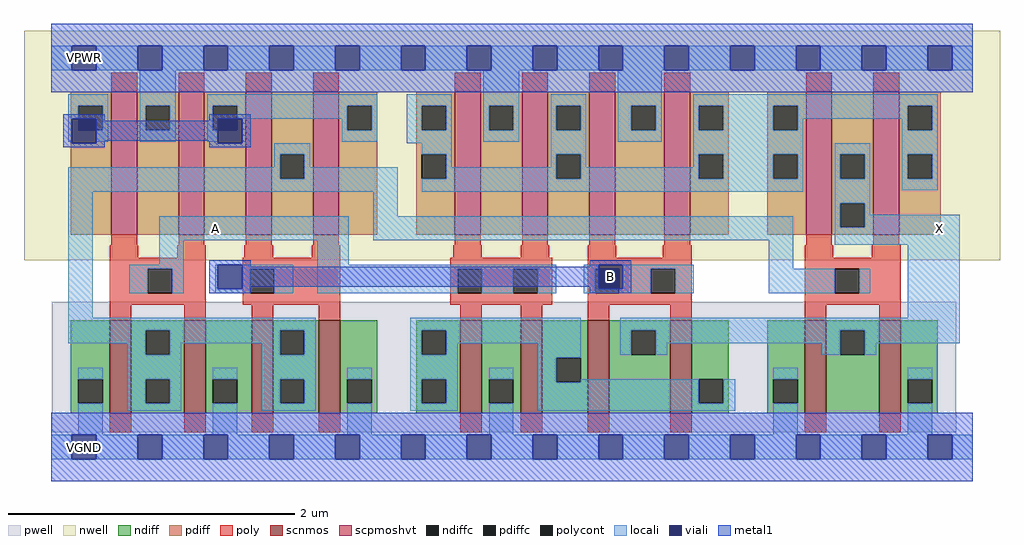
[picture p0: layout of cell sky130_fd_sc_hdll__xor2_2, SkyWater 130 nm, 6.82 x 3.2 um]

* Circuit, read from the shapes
.subckt sky130_fd_sc_hdll__xor2_2 A B VGND VNB VPB VPWR X
XM1 n1 A VGND VNB sky130_fd_pr__nfet_01v8 w=0.65 l=0.15 m=2
XM2 n1 B VGND VNB sky130_fd_pr__nfet_01v8 w=0.65 l=0.15 m=2
XM3 VGND A n2 VNB sky130_fd_pr__nfet_01v8 w=0.65 l=0.15 m=2
XM4 X B n2 VNB sky130_fd_pr__nfet_01v8 w=0.65 l=0.15 m=2
XM5 X n1 VGND VNB sky130_fd_pr__nfet_01v8 w=0.65 l=0.15 m=2
XM6 VPWR A n3 VPB sky130_fd_pr__pfet_01v8_hvt w=1 l=0.18 m=2
XM7 n1 B n3 VPB sky130_fd_pr__pfet_01v8_hvt w=1 l=0.18 m=2
XM8 VPWR A n4 VPB sky130_fd_pr__pfet_01v8_hvt w=1 l=0.18 m=2
XM9 VPWR B n4 VPB sky130_fd_pr__pfet_01v8_hvt w=1 l=0.18 m=2
XM10 X n1 n4 VPB sky130_fd_pr__pfet_01v8_hvt w=1 l=0.18 m=2
.ends

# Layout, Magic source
magic
tech sky130A
magscale 1 2
<< nwell >>
rect -38 261 1326 582
<< pwell >>
rect 1 21 1265 203
rect 29 -17 63 21
<< scnmos >>
rect 82 47 112 177
rect 186 47 216 177
rect 280 47 310 177
rect 374 47 404 177
rect 572 47 602 177
rect 656 47 686 177
rect 750 47 780 177
rect 865 47 895 177
rect 1053 47 1083 177
rect 1157 47 1187 177
<< scpmoshvt >>
rect 84 297 120 497
rect 178 297 214 497
rect 272 297 308 497
rect 366 297 402 497
rect 564 297 600 497
rect 658 297 694 497
rect 752 297 788 497
rect 857 297 893 497
rect 1055 297 1091 497
rect 1149 297 1185 497
<< ndiff >>
rect 27 95 82 177
rect 27 61 38 95
rect 72 61 82 95
rect 27 47 82 61
rect 112 163 186 177
rect 112 129 132 163
rect 166 129 186 163
rect 112 95 186 129
rect 112 61 132 95
rect 166 61 186 95
rect 112 47 186 61
rect 216 95 280 177
rect 216 61 226 95
rect 260 61 280 95
rect 216 47 280 61
rect 310 163 374 177
rect 310 129 320 163
rect 354 129 374 163
rect 310 95 374 129
rect 310 61 320 95
rect 354 61 374 95
rect 310 47 374 61
rect 404 95 456 177
rect 404 61 414 95
rect 448 61 456 95
rect 404 47 456 61
rect 510 163 572 177
rect 510 129 518 163
rect 552 129 572 163
rect 510 95 572 129
rect 510 61 518 95
rect 552 61 572 95
rect 510 47 572 61
rect 602 95 656 177
rect 602 61 612 95
rect 646 61 656 95
rect 602 47 656 61
rect 686 125 750 177
rect 686 91 706 125
rect 740 91 750 125
rect 686 47 750 91
rect 780 163 865 177
rect 780 129 811 163
rect 845 129 865 163
rect 780 47 865 129
rect 895 95 947 177
rect 895 61 905 95
rect 939 61 947 95
rect 895 47 947 61
rect 1001 95 1053 177
rect 1001 61 1009 95
rect 1043 61 1053 95
rect 1001 47 1053 61
rect 1083 163 1157 177
rect 1083 129 1103 163
rect 1137 129 1157 163
rect 1083 47 1157 129
rect 1187 95 1239 177
rect 1187 61 1197 95
rect 1231 61 1239 95
rect 1187 47 1239 61
<< pdiff >>
rect 27 477 84 497
rect 27 443 38 477
rect 72 443 84 477
rect 27 297 84 443
rect 120 477 178 497
rect 120 443 132 477
rect 166 443 178 477
rect 120 297 178 443
rect 214 477 272 497
rect 214 443 226 477
rect 260 443 272 477
rect 214 297 272 443
rect 308 409 366 497
rect 308 375 320 409
rect 354 375 366 409
rect 308 297 366 375
rect 402 477 456 497
rect 402 443 414 477
rect 448 443 456 477
rect 402 297 456 443
rect 510 477 564 497
rect 510 443 518 477
rect 552 443 564 477
rect 510 409 564 443
rect 510 375 518 409
rect 552 375 564 409
rect 510 297 564 375
rect 600 477 658 497
rect 600 443 612 477
rect 646 443 658 477
rect 600 297 658 443
rect 694 477 752 497
rect 694 443 706 477
rect 740 443 752 477
rect 694 409 752 443
rect 694 375 706 409
rect 740 375 752 409
rect 694 297 752 375
rect 788 477 857 497
rect 788 443 811 477
rect 845 443 857 477
rect 788 297 857 443
rect 893 477 947 497
rect 893 443 905 477
rect 939 443 947 477
rect 893 409 947 443
rect 893 375 905 409
rect 939 375 947 409
rect 893 297 947 375
rect 1001 477 1055 497
rect 1001 443 1009 477
rect 1043 443 1055 477
rect 1001 409 1055 443
rect 1001 375 1009 409
rect 1043 375 1055 409
rect 1001 297 1055 375
rect 1091 409 1149 497
rect 1091 375 1103 409
rect 1137 375 1149 409
rect 1091 341 1149 375
rect 1091 307 1103 341
rect 1137 307 1149 341
rect 1091 297 1149 307
rect 1185 477 1243 497
rect 1185 443 1197 477
rect 1231 443 1243 477
rect 1185 409 1243 443
rect 1185 375 1197 409
rect 1231 375 1243 409
rect 1185 297 1243 375
<< ndiffc >>
rect 38 61 72 95
rect 132 129 166 163
rect 132 61 166 95
rect 226 61 260 95
rect 320 129 354 163
rect 320 61 354 95
rect 414 61 448 95
rect 518 129 552 163
rect 518 61 552 95
rect 612 61 646 95
rect 706 91 740 125
rect 811 129 845 163
rect 905 61 939 95
rect 1009 61 1043 95
rect 1103 129 1137 163
rect 1197 61 1231 95
<< pdiffc >>
rect 38 443 72 477
rect 132 443 166 477
rect 226 443 260 477
rect 320 375 354 409
rect 414 443 448 477
rect 518 443 552 477
rect 518 375 552 409
rect 612 443 646 477
rect 706 443 740 477
rect 706 375 740 409
rect 811 443 845 477
rect 905 443 939 477
rect 905 375 939 409
rect 1009 443 1043 477
rect 1009 375 1043 409
rect 1103 375 1137 409
rect 1103 307 1137 341
rect 1197 443 1231 477
rect 1197 375 1231 409
<< poly >>
rect 84 497 120 523
rect 178 497 214 523
rect 272 497 308 523
rect 366 497 402 523
rect 564 497 600 523
rect 658 497 694 523
rect 752 497 788 523
rect 857 497 893 523
rect 1055 497 1091 523
rect 1149 497 1185 523
rect 84 282 120 297
rect 178 282 214 297
rect 272 282 308 297
rect 366 282 402 297
rect 564 282 600 297
rect 658 282 694 297
rect 752 282 788 297
rect 857 282 893 297
rect 1055 282 1091 297
rect 1149 282 1185 297
rect 82 265 122 282
rect 176 265 216 282
rect 270 265 310 282
rect 364 265 404 282
rect 562 265 602 282
rect 656 265 696 282
rect 750 265 790 282
rect 855 265 895 282
rect 82 249 216 265
rect 82 215 135 249
rect 169 215 216 249
rect 82 199 216 215
rect 268 249 404 265
rect 268 215 278 249
rect 312 215 404 249
rect 268 199 404 215
rect 558 249 700 265
rect 558 215 568 249
rect 602 215 646 249
rect 680 215 700 249
rect 558 199 700 215
rect 750 249 895 265
rect 750 215 760 249
rect 794 215 838 249
rect 872 215 895 249
rect 750 199 895 215
rect 82 177 112 199
rect 186 177 216 199
rect 280 177 310 199
rect 374 177 404 199
rect 572 177 602 199
rect 656 177 686 199
rect 750 177 780 199
rect 865 177 895 199
rect 1053 265 1093 282
rect 1147 265 1187 282
rect 1053 249 1187 265
rect 1053 215 1095 249
rect 1129 215 1187 249
rect 1053 199 1187 215
rect 1053 177 1083 199
rect 1157 177 1187 199
rect 82 21 112 47
rect 186 21 216 47
rect 280 21 310 47
rect 374 21 404 47
rect 572 21 602 47
rect 656 21 686 47
rect 750 21 780 47
rect 865 21 895 47
rect 1053 21 1083 47
rect 1157 21 1187 47
<< polycont >>
rect 135 215 169 249
rect 278 215 312 249
rect 568 215 602 249
rect 646 215 680 249
rect 760 215 794 249
rect 838 215 872 249
rect 1095 215 1129 249
<< locali >>
rect 0 527 29 561
rect 63 527 121 561
rect 155 527 213 561
rect 247 527 305 561
rect 339 527 397 561
rect 431 527 489 561
rect 523 527 581 561
rect 615 527 673 561
rect 707 527 765 561
rect 799 527 857 561
rect 891 527 949 561
rect 983 527 1041 561
rect 1075 527 1133 561
rect 1167 527 1225 561
rect 1259 527 1288 561
rect 24 477 80 493
rect 24 459 38 477
rect 24 427 29 459
rect 72 443 80 477
rect 63 427 80 443
rect 124 477 174 527
rect 124 443 132 477
rect 166 443 174 477
rect 124 427 174 443
rect 218 477 456 493
rect 218 443 226 477
rect 260 459 414 477
rect 218 427 233 443
rect 267 427 268 459
rect 406 443 414 459
rect 448 443 456 477
rect 406 427 456 443
rect 497 477 560 493
rect 497 443 518 477
rect 552 443 560 477
rect 497 425 560 443
rect 604 477 654 527
rect 604 443 612 477
rect 646 443 654 477
rect 604 427 654 443
rect 698 477 748 493
rect 698 443 706 477
rect 740 443 748 477
rect 312 409 362 425
rect 312 391 320 409
rect 24 375 320 391
rect 354 391 362 409
rect 518 409 560 425
rect 354 375 484 391
rect 24 357 484 375
rect 552 391 560 409
rect 698 409 748 443
rect 792 477 853 527
rect 792 443 811 477
rect 845 443 853 477
rect 792 427 853 443
rect 897 477 1239 493
rect 897 443 905 477
rect 939 443 1009 477
rect 1043 459 1197 477
rect 1043 443 1051 459
rect 698 391 706 409
rect 552 375 706 391
rect 740 391 748 409
rect 897 409 1051 443
rect 1189 443 1197 459
rect 1231 443 1239 477
rect 897 391 905 409
rect 740 375 905 391
rect 939 375 1009 409
rect 1043 375 1051 409
rect 518 357 1051 375
rect 1095 409 1145 425
rect 1095 375 1103 409
rect 1137 375 1145 409
rect 24 181 58 357
rect 450 323 484 357
rect 1095 341 1145 375
rect 1189 409 1239 443
rect 1189 375 1197 409
rect 1231 375 1239 409
rect 1189 359 1239 375
rect 151 289 416 323
rect 450 289 1037 323
rect 151 255 185 289
rect 372 255 416 289
rect 109 249 185 255
rect 109 215 135 249
rect 169 215 185 249
rect 229 221 233 255
rect 267 249 338 255
rect 267 221 278 249
rect 229 215 278 221
rect 312 215 338 249
rect 372 249 706 255
rect 372 215 568 249
rect 602 215 646 249
rect 680 215 706 249
rect 744 249 765 255
rect 799 249 898 255
rect 744 215 760 249
rect 799 221 838 249
rect 794 215 838 221
rect 872 215 898 249
rect 1003 249 1037 289
rect 1095 307 1103 341
rect 1137 325 1145 341
rect 1137 307 1270 325
rect 1095 283 1270 307
rect 1003 215 1095 249
rect 1129 215 1145 249
rect 1197 181 1270 283
rect 24 163 370 181
rect 24 145 132 163
rect 106 129 132 145
rect 166 145 320 163
rect 166 129 182 145
rect 38 95 72 111
rect 38 17 72 61
rect 106 95 182 129
rect 294 129 320 145
rect 354 129 370 163
rect 106 61 132 95
rect 166 61 182 95
rect 106 51 182 61
rect 226 95 260 111
rect 226 17 260 61
rect 294 95 370 129
rect 502 163 740 181
rect 502 129 518 163
rect 552 145 740 163
rect 552 129 568 145
rect 294 61 320 95
rect 354 61 370 95
rect 294 51 370 61
rect 414 95 448 111
rect 414 17 448 61
rect 502 95 568 129
rect 680 125 740 145
rect 795 163 1270 181
rect 795 129 811 163
rect 845 145 1103 163
rect 845 129 861 145
rect 1077 129 1103 145
rect 1137 145 1270 163
rect 1137 129 1153 145
rect 502 61 518 95
rect 552 61 568 95
rect 502 51 568 61
rect 612 95 646 111
rect 612 17 646 61
rect 680 91 706 125
rect 1009 95 1043 111
rect 740 91 905 95
rect 680 61 905 91
rect 939 61 956 95
rect 680 51 956 61
rect 1009 17 1043 61
rect 1197 95 1231 111
rect 1197 17 1231 61
rect 0 -17 29 17
rect 63 -17 121 17
rect 155 -17 213 17
rect 247 -17 305 17
rect 339 -17 397 17
rect 431 -17 489 17
rect 523 -17 581 17
rect 615 -17 673 17
rect 707 -17 765 17
rect 799 -17 857 17
rect 891 -17 949 17
rect 983 -17 1041 17
rect 1075 -17 1133 17
rect 1167 -17 1225 17
rect 1259 -17 1288 17
<< viali >>
rect 29 527 63 561
rect 121 527 155 561
rect 213 527 247 561
rect 305 527 339 561
rect 397 527 431 561
rect 489 527 523 561
rect 581 527 615 561
rect 673 527 707 561
rect 765 527 799 561
rect 857 527 891 561
rect 949 527 983 561
rect 1041 527 1075 561
rect 1133 527 1167 561
rect 1225 527 1259 561
rect 29 443 38 459
rect 38 443 63 459
rect 29 425 63 443
rect 233 443 260 459
rect 260 443 267 459
rect 233 425 267 443
rect 233 221 267 255
rect 765 249 799 255
rect 765 221 794 249
rect 794 221 799 249
rect 29 -17 63 17
rect 121 -17 155 17
rect 213 -17 247 17
rect 305 -17 339 17
rect 397 -17 431 17
rect 489 -17 523 17
rect 581 -17 615 17
rect 673 -17 707 17
rect 765 -17 799 17
rect 857 -17 891 17
rect 949 -17 983 17
rect 1041 -17 1075 17
rect 1133 -17 1167 17
rect 1225 -17 1259 17
<< metal1 >>
rect 0 561 1288 592
rect 0 527 29 561
rect 63 527 121 561
rect 155 527 213 561
rect 247 527 305 561
rect 339 527 397 561
rect 431 527 489 561
rect 523 527 581 561
rect 615 527 673 561
rect 707 527 765 561
rect 799 527 857 561
rect 891 527 949 561
rect 983 527 1041 561
rect 1075 527 1133 561
rect 1167 527 1225 561
rect 1259 527 1288 561
rect 0 496 1288 527
rect 17 459 75 465
rect 17 425 29 459
rect 63 456 75 459
rect 221 459 279 465
rect 221 456 233 459
rect 63 428 233 456
rect 63 425 75 428
rect 17 419 75 425
rect 221 425 233 428
rect 267 425 279 459
rect 221 419 279 425
rect 221 255 279 261
rect 221 221 233 255
rect 267 252 279 255
rect 753 255 811 261
rect 753 252 765 255
rect 267 224 765 252
rect 267 221 279 224
rect 221 215 279 221
rect 753 221 765 224
rect 799 221 811 255
rect 753 215 811 221
rect 0 17 1288 48
rect 0 -17 29 17
rect 63 -17 121 17
rect 155 -17 213 17
rect 247 -17 305 17
rect 339 -17 397 17
rect 431 -17 489 17
rect 523 -17 581 17
rect 615 -17 673 17
rect 707 -17 765 17
rect 799 -17 857 17
rect 891 -17 949 17
rect 983 -17 1041 17
rect 1075 -17 1133 17
rect 1167 -17 1225 17
rect 1259 -17 1288 17
rect 0 -48 1288 -17
<< labels >>
flabel metal1 s 765 221 799 255 0 FreeSans 400 0 0 0 B
port 2 nsew signal input
flabel metal1 s 29 527 63 561 0 FreeSans 200 0 0 0 VPWR
port 6 nsew power bidirectional
flabel metal1 s 29 -17 63 17 0 FreeSans 200 0 0 0 VGND
port 3 nsew ground bidirectional
flabel locali s 1225 289 1259 323 0 FreeSans 400 0 0 0 X
port 7 nsew signal output
flabel locali s 213 289 247 323 0 FreeSans 400 0 0 0 A
port 1 nsew signal input
flabel nwell s 29 527 63 561 0 FreeSans 200 0 0 0 VPB
port 5 nsew power bidirectional
flabel pwell s 29 -17 63 17 0 FreeSans 200 0 0 0 VNB
port 4 nsew ground bidirectional
rlabel comment s 0 0 0 0 4 xor2_2
<< properties >>
string LEFsite unithd
string LEFclass CORE
string FIXED_BBOX 0 0 1288 544
string GDS_FILE $PDKPATH/libs.ref/sky130_fd_sc_hdll/gds/sky130_fd_sc_hdll.gds
string LEFsymmetry X Y R90
string GDS_END 42966
string GDS_START 33408
string LEFproperties maskLayoutSubType "abstract" prCellType "standard" originalViewName "layout"
<< end >>
